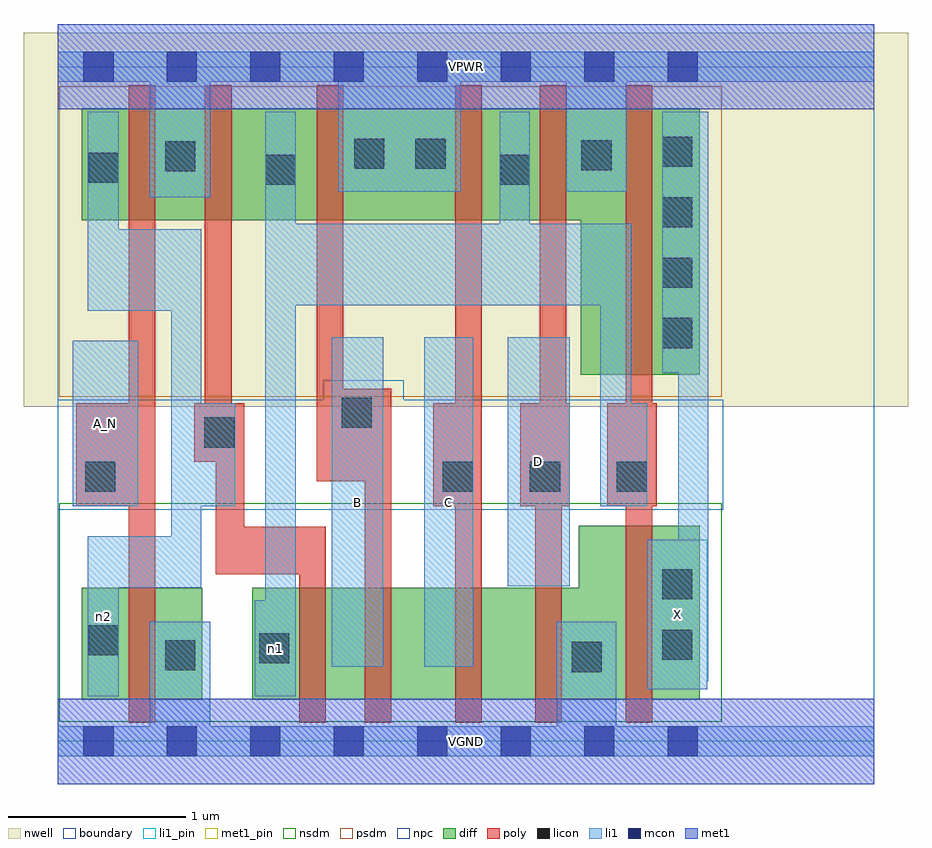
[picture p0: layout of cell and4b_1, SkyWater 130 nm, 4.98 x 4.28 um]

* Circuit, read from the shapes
.subckt and4b_1 A_N B C D VGND VPWR X n1 n2
XM1 VGND A_N n2 VSUBS sky130_fd_pr__nfet_01v8 w=0.63 l=0.15
XM2 n3 n2 n1 VSUBS sky130_fd_pr__nfet_01v8 w=0.63 l=0.15
XM3 n4 B n3 VSUBS sky130_fd_pr__nfet_01v8 w=0.63 l=0.15
XM4 n5 C n4 VSUBS sky130_fd_pr__nfet_01v8 w=0.63 l=0.15
XM5 VGND D n5 VSUBS sky130_fd_pr__nfet_01v8 w=0.63 l=0.15
XM6 X n1 VGND VSUBS sky130_fd_pr__nfet_01v8 w=0.98 l=0.15
XM7 VPWR A_N n2 n6 sky130_fd_pr__pfet_01v8 w=0.63 l=0.15
XM8 n1 n2 VPWR n6 sky130_fd_pr__pfet_01v8 w=0.63 l=0.15
XM9 VPWR B n1 n6 sky130_fd_pr__pfet_01v8 w=0.63 l=0.15
XM10 n1 C VPWR n6 sky130_fd_pr__pfet_01v8 w=0.63 l=0.15
XM11 VPWR D n1 n6 sky130_fd_pr__pfet_01v8 w=0.63 l=0.15
XM12 X n1 VPWR n6 sky130_fd_pr__pfet_01v8 w=1.5 l=0.15
.ends

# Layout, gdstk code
import gdstk
lib = gdstk.Library(unit=1e-6, precision=1e-09)
def R(c, l, rs):  # rectangles x0, y0, x1, y1
    for r in rs: c.add(gdstk.rectangle(r[:2], r[2:], *l))
def A(c, l, x, y, w, h, nx, ny, dx, dy):  # array of equal rectangles
    R(c, l, [(x+i*dx, y+j*dy, x+i*dx+w, y+j*dy+h) for i in range(nx) for j in range(ny)])
nwell = (64, 20)
diff = (65, 20)
poly = (66, 20)
licon = (66, 44)
li1_pin = (67, 16)
li1 = (67, 20)
mcon = (67, 44)
met1_pin = (68, 16)
met1 = (68, 20)
nsdm = (93, 44)
psdm = (94, 20)
npc = (95, 20)
boundary = (235, 4)

and4b_1 = lib.new_cell('and4b_1')
R(and4b_1, nwell, [(-0.19,1.885,4.79,3.99), (0,1.885,4.6,3.99)])
R(and4b_1, diff, [(0.135,0.235,0.815,0.865), (1.095,0.235,3.615,0.865), (2.935,0.235,3.615,1.215), (2.945,2.065,3.615,3.565), (0.135,2.935,3.615,3.565)])
R(and4b_1, poly, [(0.4,0.105,0.55,3.695), (1.36,0.105,1.51,1.21), (1.73,0.105,1.88,1.985), (2.24,0.105,2.39,3.695), (2.69,0.105,2.84,1.905), (3.2,0.105,3.35,3.695), (0.89,0.94,1.51,1.21), (0.89,0.94,1.05,1.905), (0.105,1.325,0.55,1.905), (2.115,1.325,2.39,1.905), (2.605,1.325,2.885,1.905), (2.715,1.325,2.865,3.695), (3.095,1.325,3.375,1.905), (1.46,1.465,1.61,3.695), (1.46,1.465,1.88,1.985), (0.77,1.575,1.05,1.905), (0.83,1.575,0.98,3.695)])
A(and4b_1, licon, 2.17, 1.405, 0.17, 0.17, 3, 1, 0.49, 0)
A(and4b_1, licon, 3.405, 2.215, 0.17, 0.17, 1, 4, 0, 0.34)
R(and4b_1, licon, [(2.895,0.39,3.065,0.56), (0.605,0.4,0.775,0.57), (1.135,0.44,1.305,0.61), (3.405,0.46,3.575,0.63), (0.175,0.485,0.345,0.655), (3.405,0.8,3.575,0.97), (0.155,1.405,0.325,1.575), (0.825,1.655,0.995,1.825), (1.6,1.765,1.77,1.935), (1.17,3.135,1.34,3.305), (2.49,3.135,2.66,3.305), (0.175,3.145,0.345,3.315), (0.605,3.21,0.775,3.38), (2.95,3.215,3.12,3.385), (1.67,3.225,1.84,3.395), (2.015,3.225,2.185,3.395)])
R(and4b_1, li1_pin, [(3.32,0.295,3.66,1.135), (1.545,0.42,1.835,2.275), (2.065,0.42,2.34,2.275), (2.535,0.875,2.885,2.275), (0.085,1.325,0.455,2.255)])
R(and4b_1, li1, [(0,-0.085,4.6,0.085), (0.52,-0.085,0.86,0.675), (2.81,-0.085,3.145,0.675), (0.17,0.255,0.345,1.155), (1.11,0.255,1.34,0.795), (1.17,0.255,1.34,3.545), (3.32,0.295,3.66,1.135), (3.495,0.34,3.665,3.545), (1.545,0.42,1.835,2.275), (2.065,0.42,2.34,2.275), (0.17,0.865,0.81,1.155), (0.64,0.865,0.81,2.885), (2.535,0.875,2.885,2.275), (0.085,1.325,0.455,2.255), (0.64,1.325,1,1.905), (3.055,1.325,3.23,2.915), (3.055,1.325,3.32,1.905), (3.405,2.075,3.665,3.545), (0.17,2.425,0.345,3.545), (0.17,2.425,0.81,2.885), (1.17,2.455,3.23,2.915), (2.49,2.455,2.66,3.545), (0.52,3.065,0.86,3.885), (1.58,3.095,2.27,3.885), (2.865,3.095,3.205,3.885), (0,3.715,4.6,3.885)])
A(and4b_1, mcon, 0.145, -0.085, 0.17, 0.17, 8, 2, 0.47, 3.8)
R(and4b_1, met1_pin, [(0,-0.24,4.6,0.24), (0,3.56,4.6,4.04)])
R(and4b_1, met1, [(0,-0.24,4.6,0.24), (0,3.56,4.6,4.04)])
R(and4b_1, nsdm, [(0.01,0.11,3.74,1.34)])
R(and4b_1, psdm, [(0.01,1.94,3.74,3.69)])
R(and4b_1, npc, [(0,1.305,3.75,1.925), (1.495,1.305,1.95,2.035)])
R(and4b_1, boundary, [(0,0,4.6,3.8)])
and4b_1.add(gdstk.Label('A_N', (0.27,1.79), layer=67, texttype=5))
and4b_1.add(gdstk.Label('B', (1.69,1.347), layer=67, texttype=5))
and4b_1.add(gdstk.Label('C', (2.202,1.347), layer=67, texttype=5))
and4b_1.add(gdstk.Label('D', (2.71,1.575), layer=67, texttype=5))
and4b_1.add(gdstk.Label('X', (3.49,0.715), layer=67, texttype=5))
and4b_1.add(gdstk.Label('n2', (0.257,0.705), layer=67, texttype=5))
and4b_1.add(gdstk.Label('n1', (1.225,0.525), layer=67, texttype=5))
and4b_1.add(gdstk.Label('VPWR', (2.3,3.8), layer=68, texttype=5))
and4b_1.add(gdstk.Label('VGND', (2.3,0), layer=68, texttype=5))
and4b_1.add(gdstk.Label('A_N', (0.27,1.79), layer=67, texttype=16))
and4b_1.add(gdstk.Label('B', (1.69,1.347), layer=67, texttype=16))
and4b_1.add(gdstk.Label('C', (2.202,1.347), layer=67, texttype=16))
and4b_1.add(gdstk.Label('D', (2.71,1.575), layer=67, texttype=16))
and4b_1.add(gdstk.Label('X', (3.49,0.715), layer=67, texttype=16))
and4b_1.add(gdstk.Label('VPWR', (2.3,3.8), layer=68, texttype=16))
and4b_1.add(gdstk.Label('VGND', (2.3,0), layer=68, texttype=16))

lib.write_gds('and4b_1.gds')
